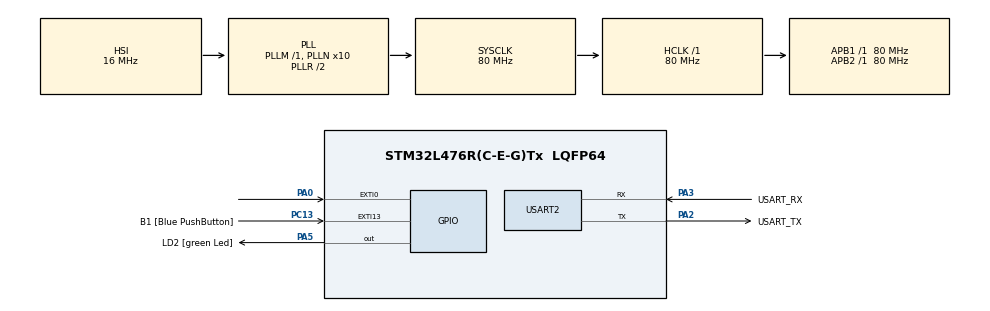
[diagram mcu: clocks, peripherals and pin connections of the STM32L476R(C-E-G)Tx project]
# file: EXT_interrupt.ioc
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Mcu.Family=STM32L4
Mcu.Name=STM32L476R(C-E-G)Tx
Mcu.Package=LQFP64
NVIC.EXTI15_10_IRQn=true\:0\:0\:false\:false\:true\:true\:true\:true
NVIC.PriorityGroup=NVIC_PRIORITYGROUP_4
PA0.Signal=GPXTI0
PA13\ (JTMS-SWDIO).GPIO_Label=TMS
PA13\ (JTMS-SWDIO).Mode=Serial_Wire
PA13\ (JTMS-SWDIO).Signal=SYS_JTMS-SWDIO
PA14\ (JTCK-SWCLK).GPIO_Label=TCK
PA14\ (JTCK-SWCLK).Mode=Serial_Wire
PA14\ (JTCK-SWCLK).Signal=SYS_JTCK-SWCLK
PA2.GPIO_Label=USART_TX
PA2.GPIO_Mode=GPIO_MODE_AF_PP
PA2.GPIO_PuPd=GPIO_NOPULL
PA2.GPIO_Speed=GPIO_SPEED_FREQ_VERY_HIGH
PA2.Mode=Asynchronous
PA2.Signal=USART2_TX
PA3.GPIO_Label=USART_RX
PA3.GPIO_Mode=GPIO_MODE_AF_PP
PA3.GPIO_PuPd=GPIO_NOPULL
PA3.GPIO_Speed=GPIO_SPEED_FREQ_VERY_HIGH
PA3.Mode=Asynchronous
PA3.Signal=USART2_RX
PA5.GPIO_Label=LD2 [green Led]
PA5.GPIO_ModeDefaultOutputPP=GPIO_MODE_OUTPUT_PP
PA5.GPIO_PuPd=GPIO_NOPULL
PA5.GPIO_Speed=GPIO_SPEED_FREQ_LOW
PA5.Signal=GPIO_Output
PB3\ (JTDO-TRACESWO).GPIO_Label=SWO
PB3\ (JTDO-TRACESWO).Signal=SYS_JTDO-SWO
PC13.GPIO_Label=B1 [Blue PushButton]
PC13.GPIO_ModeDefaultEXTI=GPIO_MODE_IT_FALLING
PC13.GPIO_PuPd=GPIO_NOPULL
PC13.Signal=GPXTI13
PC14-OSC32_IN\ (PC14).Signal=RCC_OSC32_IN
PC15-OSC32_OUT\ (PC15).Signal=RCC_OSC32_OUT
PH0-OSC_IN\ (PH0).Mode=HSE-External-Oscillator
PH0-OSC_IN\ (PH0).Signal=RCC_OSC_IN
PH1-OSC_OUT\ (PH1).Mode=HSE-External-Oscillator
PH1-OSC_OUT\ (PH1).Signal=RCC_OSC_OUT
ProjectManager.HeapSize=0x200
ProjectManager.StackSize=0x400
ProjectManager.TargetToolchain=STM32CubeIDE
RCC.ADCFreq_Value=64000000
RCC.AHBFreq_Value=80000000
RCC.APB1Freq_Value=80000000
RCC.APB1TimFreq_Value=80000000
RCC.APB2Freq_Value=80000000
RCC.APB2TimFreq_Value=80000000
RCC.CortexFreq_Value=80000000
RCC.HCLKFreq_Value=80000000
RCC.HSE_VALUE=8000000
RCC.HSI_VALUE=16000000
RCC.MSI_VALUE=4000000
RCC.PLLN=10
RCC.PLLSourceVirtual=RCC_PLLSOURCE_HSI
RCC.PREFETCH_ENABLE=1
RCC.SYSCLKFreq_VALUE=80000000
RCC.SYSCLKSource=RCC_SYSCLKSOURCE_PLLCLK
RCC.USBFreq_Value=64000000
RCC.VCOOutputFreq_Value=160000000
USART2.VirtualMode-Asynchronous=VM_ASYNC
board=NUCLEO-L476RG

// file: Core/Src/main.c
/* USER CODE BEGIN Header */
/**
  ******************************************************************************
  * @file           : main.c
  * @brief          : Main program body
  ******************************************************************************
  * @attention
  *
  * Copyright (c) 2025 STMicroelectronics.
  * All rights reserved.
  *
  * This software is licensed under terms that can be found in the LICENSE file
  * in the root directory of this software component.
  * If no LICENSE file comes with this software, it is provided AS-IS.
  *
  ******************************************************************************
  */
/* USER CODE END Header */
#include "main.h"

/* USER CODE BEGIN PD */
#define BTN_PORT    GPIOC
#define BTN_PIN     GPIO_PIN_13
#define LED_PORT    GPIOA
#define LED_PIN     GPIO_PIN_5
/* USER CODE END PD */

UART_HandleTypeDef huart2;

void SystemClock_Config(void);
static void MX_GPIO_Init(void);
static void MX_USART2_UART_Init(void);

/* USER CODE BEGIN 0 */
void EXT_Interrupt_GPIO_PIN_init(void)
{
	/* Create and initialize GPIO configuration structure with default values (all zeros) */
	GPIO_InitTypeDef GPIO_StructInit = {0};

	/* Enable clock for GPIOA peripheral */
	__HAL_RCC_GPIOA_CLK_ENABLE();

	/* Enable clock for GPIOC peripheral */
	__HAL_RCC_GPIOC_CLK_ENABLE();

	/* ------------ Configure PC13 as input pin ------------ */
	/* Select pin number PC13 */
	GPIO_StructInit.Pin = GPIO_PIN_13;
	/* Set mode: Input with interrupt on rising edge */
	GPIO_StructInit.Mode = GPIO_MODE_IT_RISING;
	/* No pull-up or pull-down resistors */
	GPIO_StructInit.Pull = GPIO_NOPULL;
	/* Set GPIO speed to low frequency */
	GPIO_StructInit.Speed = GPIO_SPEED_FREQ_LOW;
	/* Initialize GPIOC with above configuration */
	HAL_GPIO_Init(GPIOC, &GPIO_StructInit);

	/* ------------ Configure PA0 as input pin ------------ */
	/* Select pin number PA0 */
	GPIO_StructInit.Pin = GPIO_PIN_0;
	/* Set mode: Input with interrupt on rising edge */
	GPIO_StructInit.Mode = GPIO_MODE_IT_RISING;
	/* No pull-up or pull-down resistors */
	GPIO_StructInit.Pull = GPIO_NOPULL;
	/* Set GPIO speed to low frequency */
	GPIO_StructInit.Speed = GPIO_SPEED_FREQ_LOW;
	/* Initialize GPIOA with above configuration */
	HAL_GPIO_Init(GPIOA, &GPIO_StructInit);

	/* ------------ Configure PA5 as output pin ------------ */
	/* Select pin number PA5 (LED pin defined as LED_PIN) */
	GPIO_StructInit.Pin = LED_PIN;
	/* Configure pin mode: General-purpose output */
	GPIO_StructInit.Mode = GPIO_MODE_OUTPUT_PP;
	/* No pull-up or pull-down resistors */
	GPIO_StructInit.Pull = GPIO_NOPULL;
	/* Set GPIO speed to low frequency */
	GPIO_StructInit.Speed = GPIO_SPEED_FREQ_LOW;
	/* Initialize GPIOA (LED_PORT) with above configuration */
	HAL_GPIO_Init(LED_PORT, &GPIO_StructInit);
    /*configure  and enable External Interrupt */
	HAL_NVIC_SetPriority(EXTI0_IRQn, 0, 0);
	HAL_NVIC_EnableIRQ(EXTI0_IRQn);

	HAL_NVIC_SetPriority(EXTI15_10_IRQn, 0, 0);
	HAL_NVIC_EnableIRQ(EXTI15_10_IRQn);

}

void HAL_GPIO_EXTI_Callback(uint16_t GPIO_Pin)
{

	if(GPIO_Pin == GPIO_PIN_13)
	{
	/* Function to Send message on UART */
	HAL_UART_Transmit(&huart2, "Switch 13 Pressed \r\n",16,HAL_MAX_DELAY);
	/* Function to Toggle LED */
	HAL_GPIO_TogglePin(LED_PORT, LED_PIN);
	}
	if(GPIO_Pin == GPIO_PIN_0)
	{
	/* Function to Send message on UART */
	HAL_UART_Transmit(&huart2, "Switch 1 Pressed \r\n",16,HAL_MAX_DELAY);
	/* Function to Toggle LED */
	HAL_GPIO_TogglePin(LED_PORT, LED_PIN);
	}
}

/* USER CODE END 0 */

int main(void)
{

  /* MCU Configuration--------------------------------------------------------*/

  /* Reset of all peripherals, Initializes the Flash interface and the Systick. */
  HAL_Init();

  /* USER CODE BEGIN Init */
  EXT_Interrupt_GPIO_PIN_init();
  /* USER CODE END Init */

  /* Configure the system clock */
  SystemClock_Config();

  /* Initialize all configured peripherals */
  MX_GPIO_Init();
  MX_USART2_UART_Init();

  /* Infinite loop */
  while (1)
  {

  }
}

void SystemClock_Config(void)
{
  RCC_OscInitTypeDef RCC_OscInitStruct = {0};
  RCC_ClkInitTypeDef RCC_ClkInitStruct = {0};

  /** Configure the main internal regulator output voltage
  */
  if (HAL_PWREx_ControlVoltageScaling(PWR_REGULATOR_VOLTAGE_SCALE1) != HAL_OK)
  {
    Error_Handler();
  }

  /** Initializes the RCC Oscillators according to the specified parameters
  * in the RCC_OscInitTypeDef structure.
  */
  RCC_OscInitStruct.OscillatorType = RCC_OSCILLATORTYPE_HSI;
  RCC_OscInitStruct.HSIState = RCC_HSI_ON;
  RCC_OscInitStruct.HSICalibrationValue = RCC_HSICALIBRATION_DEFAULT;
  RCC_OscInitStruct.PLL.PLLState = RCC_PLL_ON;
  RCC_OscInitStruct.PLL.PLLSource = RCC_PLLSOURCE_HSI;
  RCC_OscInitStruct.PLL.PLLM = 1;
  RCC_OscInitStruct.PLL.PLLN = 10;
  RCC_OscInitStruct.PLL.PLLP = RCC_PLLP_DIV7;
  RCC_OscInitStruct.PLL.PLLQ = RCC_PLLQ_DIV2;
  RCC_OscInitStruct.PLL.PLLR = RCC_PLLR_DIV2;
  if (HAL_RCC_OscConfig(&RCC_OscInitStruct) != HAL_OK)
  {
    Error_Handler();
  }

  /** Initializes the CPU, AHB and APB buses clocks
  */
  RCC_ClkInitStruct.ClockType = RCC_CLOCKTYPE_HCLK|RCC_CLOCKTYPE_SYSCLK
                              |RCC_CLOCKTYPE_PCLK1|RCC_CLOCKTYPE_PCLK2;
  RCC_ClkInitStruct.SYSCLKSource = RCC_SYSCLKSOURCE_PLLCLK;
  RCC_ClkInitStruct.AHBCLKDivider = RCC_SYSCLK_DIV1;
  RCC_ClkInitStruct.APB1CLKDivider = RCC_HCLK_DIV1;
  RCC_ClkInitStruct.APB2CLKDivider = RCC_HCLK_DIV1;

  if (HAL_RCC_ClockConfig(&RCC_ClkInitStruct, FLASH_LATENCY_4) != HAL_OK)
  {
    Error_Handler();
  }
}

static void MX_USART2_UART_Init(void)
{

  huart2.Instance = USART2;
  huart2.Init.BaudRate = 115200;
  huart2.Init.WordLength = UART_WORDLENGTH_8B;
  huart2.Init.StopBits = UART_STOPBITS_1;
  huart2.Init.Parity = UART_PARITY_NONE;
  huart2.Init.Mode = UART_MODE_TX_RX;
  huart2.Init.HwFlowCtl = UART_HWCONTROL_NONE;
  huart2.Init.OverSampling = UART_OVERSAMPLING_16;
  huart2.Init.OneBitSampling = UART_ONE_BIT_SAMPLE_DISABLE;
  huart2.AdvancedInit.AdvFeatureInit = UART_ADVFEATURE_NO_INIT;
  if (HAL_UART_Init(&huart2) != HAL_OK)
  {
    Error_Handler();
  }

}

static void MX_GPIO_Init(void)
{
  GPIO_InitTypeDef GPIO_InitStruct = {0};

  /* GPIO Ports Clock Enable */
  __HAL_RCC_GPIOC_CLK_ENABLE();
  __HAL_RCC_GPIOH_CLK_ENABLE();
  __HAL_RCC_GPIOA_CLK_ENABLE();
  __HAL_RCC_GPIOB_CLK_ENABLE();

  /*Configure GPIO pin Output Level */
  HAL_GPIO_WritePin(LD2_GPIO_Port, LD2_Pin, GPIO_PIN_RESET);

  /*Configure GPIO pin : B1_Pin */
  GPIO_InitStruct.Pin = B1_Pin;
  GPIO_InitStruct.Mode = GPIO_MODE_IT_FALLING;
  GPIO_InitStruct.Pull = GPIO_NOPULL;
  HAL_GPIO_Init(B1_GPIO_Port, &GPIO_InitStruct);

  /*Configure GPIO pin : PA0 */
  GPIO_InitStruct.Pin = GPIO_PIN_0;
  GPIO_InitStruct.Mode = GPIO_MODE_IT_RISING;
  GPIO_InitStruct.Pull = GPIO_NOPULL;
  HAL_GPIO_Init(GPIOA, &GPIO_InitStruct);

  /*Configure GPIO pin : LD2_Pin */
  GPIO_InitStruct.Pin = LD2_Pin;
  GPIO_InitStruct.Mode = GPIO_MODE_OUTPUT_PP;
  GPIO_InitStruct.Pull = GPIO_NOPULL;
  GPIO_InitStruct.Speed = GPIO_SPEED_FREQ_LOW;
  HAL_GPIO_Init(LD2_GPIO_Port, &GPIO_InitStruct);

  /* EXTI interrupt init*/
  HAL_NVIC_SetPriority(EXTI15_10_IRQn, 0, 0);
  HAL_NVIC_EnableIRQ(EXTI15_10_IRQn);

}

void Error_Handler(void)
{
  __disable_irq();
  while (1)
  {
  }
}
